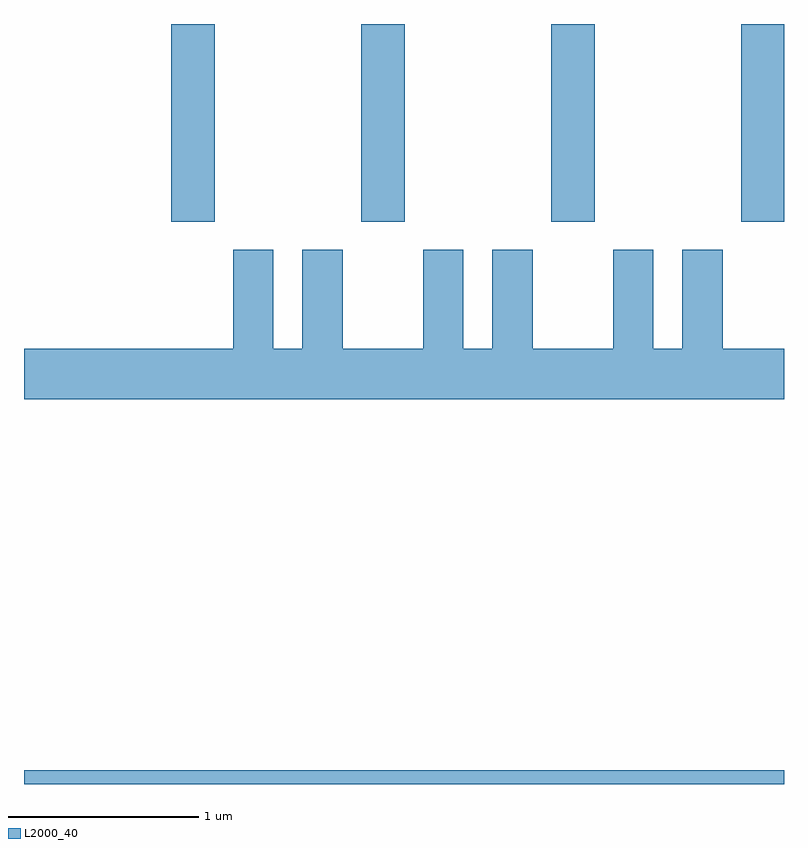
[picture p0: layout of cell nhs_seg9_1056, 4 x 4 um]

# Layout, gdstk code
import gdstk
lib = gdstk.Library(unit=1e-6, precision=1e-09)
def R(c, l, rs):  # rectangles x0, y0, x1, y1
    for r in rs: c.add(gdstk.rectangle(r[:2], r[2:], *l))
def A(c, l, x, y, w, h, nx, ny, dx, dy):  # array of equal rectangles
    R(c, l, [(x+i*dx, y+j*dy, x+i*dx+w, y+j*dy+h) for i in range(nx) for j in range(ny)])
def P(c, l, *ps):  # polygons
    for p in ps: c.add(gdstk.Polygon(p, *l))
L2000_40 = (2000, 40)

nhs_seg9_1056 = lib.new_cell('nhs_seg9_1056')
A(nhs_seg9_1056, L2000_40, 216.386, 2019.391, 0.228, 1.041, 3, 1, 1, 0)
R(nhs_seg9_1056, L2000_40, [(215.611,2016.432,219.611,2016.504), (219.386,2019.391,219.611,2020.432)])
P(nhs_seg9_1056, L2000_40, [(219.611,2018.724),(219.289,2018.724),(219.289,2019.244),(219.076,2019.244),(219.076,2018.724),(218.924,2018.724),(218.924,2019.244),(218.711,2019.244),(218.711,2018.724),(218.289,2018.724),(218.289,2019.244),(218.076,2019.244),(218.076,2018.724),(217.924,2018.724),(217.924,2019.244),(217.711,2019.244),(217.711,2018.724),(217.289,2018.724),(217.289,2019.244),(217.076,2019.244),(217.076,2018.724),(216.924,2018.724),(216.924,2019.244),(216.711,2019.244),(216.711,2018.724),(215.611,2018.724),(215.611,2018.456),(219.611,2018.456)])

lib.write_gds('nhs_seg9_1056.gds')
